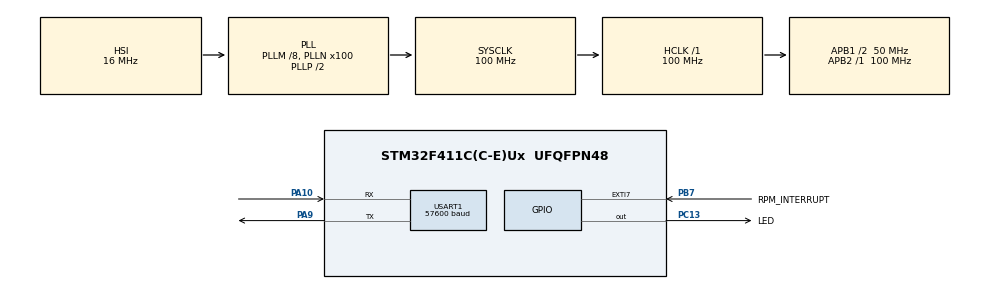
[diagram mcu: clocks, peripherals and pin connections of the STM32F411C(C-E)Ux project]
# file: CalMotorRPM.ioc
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Mcu.Family=STM32F4
Mcu.Name=STM32F411C(C-E)Ux
Mcu.Package=UFQFPN48
NVIC.EXTI9_5_IRQn=true\:0\:0\:false\:false\:true\:true\:true\:true
NVIC.PriorityGroup=NVIC_PRIORITYGROUP_4
PA10.Mode=Asynchronous
PA10.Signal=USART1_RX
PA13.Mode=Serial_Wire
PA13.Signal=SYS_JTMS-SWDIO
PA14.Mode=Serial_Wire
PA14.Signal=SYS_JTCK-SWCLK
PA9.Mode=Asynchronous
PA9.Signal=USART1_TX
PB7.GPIO_Label=RPM_INTERRUPT
PB7.GPIO_ModeDefaultEXTI=GPIO_MODE_IT_FALLING
PB7.GPIO_PuPd=GPIO_PULLUP
PB7.Signal=GPXTI7
PC13-ANTI_TAMP.GPIO_Label=LED
PC13-ANTI_TAMP.Signal=GPIO_Output
ProjectManager.HeapSize=0x200
ProjectManager.StackSize=0x400
ProjectManager.TargetToolchain=STM32CubeIDE
RCC.48MHZClocksFreq_Value=50000000
RCC.AHBFreq_Value=100000000
RCC.APB1CLKDivider=RCC_HCLK_DIV2
RCC.APB1Freq_Value=50000000
RCC.APB1TimFreq_Value=100000000
RCC.APB2Freq_Value=100000000
RCC.APB2TimFreq_Value=100000000
RCC.CortexFreq_Value=100000000
RCC.HCLKFreq_Value=100000000
RCC.HSE_VALUE=25000000
RCC.HSI_VALUE=16000000
RCC.LSE_VALUE=32768
RCC.PLLM=8
RCC.PLLN=100
RCC.SYSCLKFreq_VALUE=100000000
RCC.SYSCLKSource=RCC_SYSCLKSOURCE_PLLCLK
RCC.VCOOutputFreq_Value=200000000
TIM5.Prescaler=99
USART1.BaudRate=57600
USART1.VirtualMode=VM_ASYNC
VP_TIM5_VS_ClockSourceINT.Mode=Internal
board=custom

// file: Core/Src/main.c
/* USER CODE BEGIN Header */
/**
  ******************************************************************************
  * @file           : main.c
  * @brief          : Main program body
  ******************************************************************************
  * @attention
  *
  * Copyright (c) 2025 STMicroelectronics.
  * All rights reserved.
  *
  * This software is licensed under terms that can be found in the LICENSE file
  * in the root directory of this software component.
  * If no LICENSE file comes with this software, it is provided AS-IS.
  *
  ******************************************************************************
  */
/* USER CODE END Header */
#include "main.h"
#include "tim.h"
#include "usart.h"
#include "gpio.h"

/* USER CODE BEGIN Includes */
#include "user_define.h"
#include "delay_us.h"
#include "math.h"
#include "stm32f4xx_it.h"
#include "string.h"
/* USER CODE END Includes */

/* USER CODE BEGIN PTD */
typedef struct{
	uint32_t currentcnt;
	uint32_t latscnt;
	float rpm;
	float rad;
}motor_calculation_t;

static motor_calculation_t calmotor;
/* USER CODE END PTD */

void SystemClock_Config(void);

int main(void)
{

  /* MCU Configuration--------------------------------------------------------*/

  /* Reset of all peripherals, Initializes the Flash interface and the Systick. */
  HAL_Init();

  /* Configure the system clock */
  SystemClock_Config();

  /* Initialize all configured peripherals */
  MX_GPIO_Init();
  MX_USART1_UART_Init();
  MX_TIM5_Init();
  /* USER CODE BEGIN 2 */
  HAL_TIM_Base_Start(&TIM_DELAY_US);
  calmotor.currentcnt  = 0;
  calmotor.latscnt = 0;

  char buffer[50] = {0.0};

  /* USER CODE END 2 */

  /* Infinite loop */
  while (1)
  {
    /* USER CODE BEGIN 3 */
	  calmotor.currentcnt = get_rpm_cnt();
	  calmotor.rpm = (float)((float)(calmotor.currentcnt - calmotor.latscnt)/(float)7.0);
	  calmotor.rpm = calmotor.rpm*600;
	  calmotor.rad = calmotor.rpm*2*M_PI;
	  calmotor.latscnt = calmotor.currentcnt;
	  sprintf(buffer, "%f,%.2f\n", calmotor.rpm, calmotor.rad);
	  HAL_UART_Transmit(&huart1, (uint8_t *)buffer, strlen(buffer), HAL_MAX_DELAY);
	  delay_ms(100);
  }
  /* USER CODE END 3 */
}

void SystemClock_Config(void)
{
  RCC_OscInitTypeDef RCC_OscInitStruct = {0};
  RCC_ClkInitTypeDef RCC_ClkInitStruct = {0};

  /** Configure the main internal regulator output voltage
  */
  __HAL_RCC_PWR_CLK_ENABLE();
  __HAL_PWR_VOLTAGESCALING_CONFIG(PWR_REGULATOR_VOLTAGE_SCALE1);

  /** Initializes the RCC Oscillators according to the specified parameters
  * in the RCC_OscInitTypeDef structure.
  */
  RCC_OscInitStruct.OscillatorType = RCC_OSCILLATORTYPE_HSI;
  RCC_OscInitStruct.HSIState = RCC_HSI_ON;
  RCC_OscInitStruct.HSICalibrationValue = RCC_HSICALIBRATION_DEFAULT;
  RCC_OscInitStruct.PLL.PLLState = RCC_PLL_ON;
  RCC_OscInitStruct.PLL.PLLSource = RCC_PLLSOURCE_HSI;
  RCC_OscInitStruct.PLL.PLLM = 8;
  RCC_OscInitStruct.PLL.PLLN = 100;
  RCC_OscInitStruct.PLL.PLLP = RCC_PLLP_DIV2;
  RCC_OscInitStruct.PLL.PLLQ = 4;
  if (HAL_RCC_OscConfig(&RCC_OscInitStruct) != HAL_OK)
  {
    Error_Handler();
  }

  /** Initializes the CPU, AHB and APB buses clocks
  */
  RCC_ClkInitStruct.ClockType = RCC_CLOCKTYPE_HCLK|RCC_CLOCKTYPE_SYSCLK
                              |RCC_CLOCKTYPE_PCLK1|RCC_CLOCKTYPE_PCLK2;
  RCC_ClkInitStruct.SYSCLKSource = RCC_SYSCLKSOURCE_PLLCLK;
  RCC_ClkInitStruct.AHBCLKDivider = RCC_SYSCLK_DIV1;
  RCC_ClkInitStruct.APB1CLKDivider = RCC_HCLK_DIV2;
  RCC_ClkInitStruct.APB2CLKDivider = RCC_HCLK_DIV1;

  if (HAL_RCC_ClockConfig(&RCC_ClkInitStruct, FLASH_LATENCY_3) != HAL_OK)
  {
    Error_Handler();
  }
}

void Error_Handler(void)
{
  __disable_irq();
  while (1)
  {
  }
}
